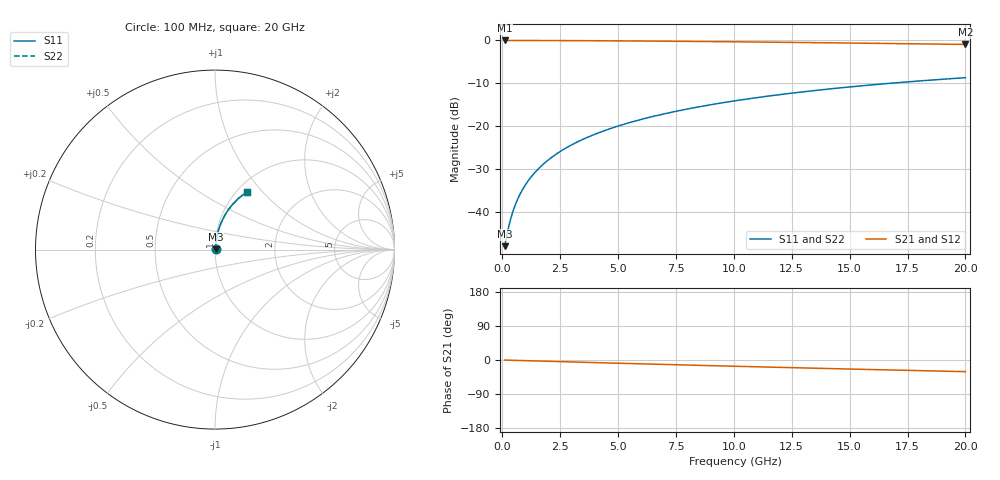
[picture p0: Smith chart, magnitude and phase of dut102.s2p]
! Touchstone file exported from HFSS 2024.1.0
!  File:  C:/UserFiles/LocalFiles/RDL_TSV_Batchsim/temp_RDL_top_102_1778683304.aedt
!  Generated:  10:43:53 PM May 13, 2026
!  Design:  RDL_top
!  Project:  temp_RDL_top_102_1778683304
!  Setup:  Setup1
!  Solution:  Sweep
! Variables:
!  dtsv = 10.80580581um
!  hbump = 3um
!  htsv = 93.51um
!  ldown = 100um
!  lrdl = 394.88um
!  p = 40
!  p1 = 40.32um
!  rhole = 1um
!  t = 450um
!  tdown = 3.915915916um
!  trdl = 4.09um
!  wdown = 15.38538539um
!  wrdl = 10.37um
# GHz S MA R 50.000000
! Terminal data exported
! Port[1] = Box2_T1
! Port[2] = Box2_T2
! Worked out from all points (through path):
!   200 points, 100 MHz to 20 GHz, reference 50 ohm
!   highest |S21| = -0.03 dB at 100 MHz (marker M1); lowest = -1.0 dB at 20 GHz (marker M2)
!   group delay of S21, straight-line fit = 4.27 ps
!   lowest |S11| = -48.1 dB at 100 MHz (marker M3), VSWR 1.01, Z = 50.3 + j0.209 ohm
!   |S11| at or under -10 dB: start of sweep to 16.82 GHz
!   |S22| runs from -48.1 to -8.7 dB; largest |S21 - S12| = 3.1e-15
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0.1  0.003949 31.7  0.9966 -0.2  0.9966 -0.2  0.003949 31.7
! Gamma 0 0 0 0
! Port Impedance 50 0 50 0
0.2  0.005361 50.4  0.9966 -0.4  0.9966 -0.4  0.005361 50.4
0.3  0.007086 60.5  0.9965 -0.5  0.9965 -0.5  0.007086 60.5
0.4  0.00893 66.4  0.9964 -0.7  0.9964 -0.7  0.00893 66.4
0.5  0.01082 70.2  0.9964 -0.9  0.9964 -0.9  0.01082 70.2
0.6  0.01275 72.9  0.9963 -1.1  0.9963 -1.1  0.01275 72.9
0.8  0.01664 76.3  0.9961 -1.4  0.9961 -1.4  0.01664 76.3
1.1  0.02254 79.0  0.9958 -1.9  0.9958 -1.9  0.02254 79.0
1.5  0.03047 80.8  0.9953 -2.6  0.9953 -2.6  0.03047 80.8
1.8  0.03643 81.4  0.9948 -3.1  0.9948 -3.1  0.03643 81.4
2.1  0.04239 81.8  0.9943 -3.6  0.9943 -3.6  0.04239 81.8
2.7  0.05432 82.0  0.9931 -4.7  0.9931 -4.7  0.05432 82.0
3.5  0.07018 81.7  0.991 -6.0  0.991 -6.0  0.07018 81.7
4.2  0.08401 81.1  0.9888 -7.2  0.9888 -7.2  0.08401 81.1
5  0.09975 80.4  0.986 -8.5  0.986 -8.5  0.09974 80.4
5.9  0.1174 79.4  0.9824 -10.0  0.9824 -10.0  0.1173 79.4
6.8  0.1348 78.3  0.9784 -11.5  0.9784 -11.5  0.1348 78.3
8.3  0.1637 76.5  0.971 -13.8  0.971 -13.8  0.1637 76.4
10.1  0.1977 74.1  0.9611 -16.6  0.9611 -16.6  0.1976 74.1
13.4  0.2578 69.7  0.9409 -21.6  0.9409 -21.6  0.2577 69.7
16.7  0.3142 65.3  0.9187 -26.3  0.9187 -26.3  0.3141 65.2
20  0.3664 60.9  0.8952 -30.8  0.8952 -30.8  0.3663 60.9
